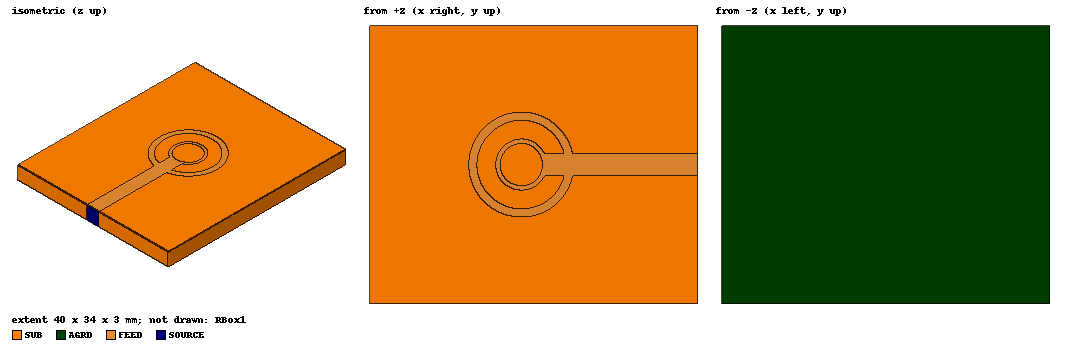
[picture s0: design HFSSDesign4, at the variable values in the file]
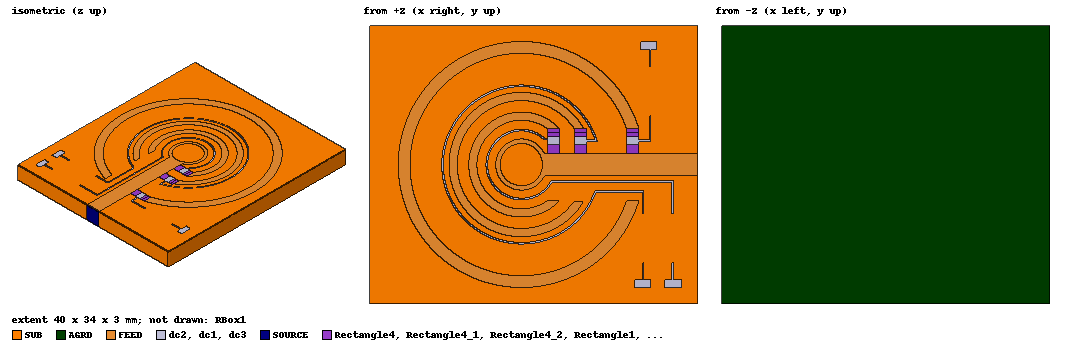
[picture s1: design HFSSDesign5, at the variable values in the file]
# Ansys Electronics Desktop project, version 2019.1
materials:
  Rogers RT/duroid 5880 (tm): permittivity=2.2 dielectric_loss_tangent=0.0009
  vacuum: permittivity=1

design HFSSDesign4 (HFSS, DrivenModal, model units mm)
options: Calculate_Lossy_Dielectrics
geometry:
  AGRD = rectangle(corner=(23mm, -17mm, 0mm), x_size=-40mm, y_size=34mm)
  SUB [Rogers RT/duroid 5880 (tm)] = box(corner=(-17mm, -17mm, 0mm), size=(40mm, 34mm, 3mm))
  SOURCE = rectangle(corner=(23mm, -1.35mm, 0mm), y_size=2.7mm, z_size=3mm)
  RBox1 [vacuum] = box(corner=(-35mm, -35mm, -20mm), size=(70mm, 70mm, 40mm))
  FEED = rectangle(corner=(23mm, -1.35mm, 3mm), x_size=-19mm, y_size=2.7mm)
  Circle1 = circle(normal=Z, centre=(1.5mm, 0mm, 3mm), radius=3.12mm)
  FEED.unite(Circle1)
  Circle2 = circle(normal=Z, centre=(1.5mm, 0mm, 3mm), radius=2.577mm)
  FEED.subtract(Circle2)
  Circle3 = circle(normal=Z, centre=(1.5mm, 0mm, 3mm), radius=5.4mm)
  Circle4 = circle(normal=Z, centre=(1.5mm, 0mm, 3mm), radius=6.4mm)
  Circle4.subtract(Circle3)
  FEED.unite(Circle4)
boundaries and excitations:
  PerfE1: Perfect E Objects=AGRD
  Rad1: Radiation Objects=RBox1
  PerfE2: Perfect E Objects=FEED
  1: Lumped Port Objects=SOURCE Modes{Mode1{IntLine{middle of SOURCE.edge(z at corner) -> middle of SOURCE.edge(z opposite corner)} CharImp=Zpi RenormImp=75ohm}} Impedance=75ohm
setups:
  Setup1: HfssDriven Frequency=15GHz MaxDeltaS=0.02 MaximumPasses=10 MinimumPasses=1 MinimumConvergedPasses=1 PercentRefinement=30 BasisOrder=1 PortAccuracy=2
    sweep Sweep: 1GHz to 25GHz, 451 points; Type=Fast SaveFields
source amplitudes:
  1:1: 1W 0deg
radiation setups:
  Infinite Sphere1: Infinite Sphere Theta=-180deg..180deg step 5deg Phi=-180deg..180deg step 5deg
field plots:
  Mag_E1: E Field over FEED.face(at (13.5, 0, 3)) on Setup1 : LastAdaptive at Freq=15GHz Phase=0deg

design HFSSDesign5 (HFSS, DrivenModal, model units mm)
options: Calculate_Lossy_Dielectrics
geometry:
  AGRD = rectangle(corner=(23mm, -17mm, 0mm), x_size=-40mm, y_size=34mm)
  SUB [Rogers RT/duroid 5880 (tm)] = box(corner=(-17mm, -17mm, 0mm), size=(40mm, 34mm, 3mm))
  SOURCE = rectangle(corner=(23mm, -1.35mm, 0mm), y_size=2.7mm, z_size=3mm)
  RBox1 [vacuum] = box(corner=(-35mm, -35mm, -20mm), size=(70mm, 70mm, 40mm))
  FEED = rectangle(corner=(23mm, -1.35mm, 3mm), x_size=-19mm, y_size=2.7mm)
  Circle1 = circle(normal=Z, centre=(1.5mm, 0mm, 3mm), radius=3.12mm)
  FEED.unite(Circle1)
  Circle2 = circle(normal=Z, centre=(1.5mm, 0mm, 3mm), radius=2.577mm)
  FEED.subtract(Circle2)
  Circle3 = circle(normal=Z, centre=(1.5mm, 0mm, 3mm), radius=5.4mm)
  Circle4 = circle(normal=Z, centre=(1.5mm, 0mm, 3mm), radius=6.4mm)
  Circle4.subtract(Circle3)
  FEED.unite(Circle4)
  sub_1 = rectangle(corner=(4.5mm, 1.35mm, 3mm), x_size=3.48719mm, y_size=3mm)
  sub_2 = rectangle(corner=(4.5mm, -1.35mm, 3mm), x_size=3.48719mm, y_size=-3mm)
  FEED.subtract(sub_1, sub_2)
  Rectangle1 = rectangle(corner=(4.6996094mm, 4.35mm, 3mm), x_size=1.5003906mm, y_size=-0.5mm)
  Rectangle2 = rectangle(corner=(4.6996094mm, 3.85mm, 3mm), x_size=1.5003906mm, y_size=-0.45mm)
  Rectangle3 = rectangle(corner=(4.6996094mm, 3.4mm, 3mm), x_size=1.5003906mm, y_size=-1mm)
  Rectangle4 = rectangle(corner=(4.6996094mm, 2.4mm, 3mm), x_size=1.5003906mm, y_size=-1.05mm)
  Circle5 = circle(normal=Z, centre=(1.5mm, 0mm, 3mm), radius=4.1mm)
  dc1 = circle(normal=Z, centre=(1.5mm, 0mm, 3mm), radius=4.3mm)
  dc1.subtract(Circle5)
  Rectangle5 = rectangle(corner=(4.2mm, 3mm, 3mm), x_size=2.5mm, y_size=-5mm)
  dc1.subtract(Rectangle5)
  Rectangle6 = rectangle(corner=(4.3mm, 3.2mm, 3mm), x_size=1.1053623mm, y_size=-0.2mm)
  Rectangle7 = rectangle(corner=(5.079106mm, -2mm, 3mm), x_size=15mm, y_size=-0.2mm)
  dc1.unite(Rectangle6, Rectangle7)
  dc1.unite(Rectangle3)
  Circle6 = circle(normal=Z, centre=(1.5mm, 0mm, 3mm), radius=8.8mm)
  Circle7 = circle(normal=Z, centre=(1.5mm, 0mm, 3mm), radius=7.8mm)
  Circle6.subtract(Circle7)
  Rectangle8 = rectangle(corner=(7.5mm, 4.35mm, 3mm), x_size=3mm, y_size=-3mm)
  Rectangle9 = rectangle(corner=(7.5mm, -4.5mm, 3mm), x_size=3mm, y_size=3.15mm)
  FEED.unite(Circle6)
  FEED.subtract(Rectangle8, Rectangle9)
  Rectangle1_1 = Rectangle1.duplicate_along_line(step=(3.2747632mm, 0mm, 0mm), total=2)
  Rectangle2_1 = Rectangle2.duplicate_along_line(step=(3.2747632mm, 0mm, 0mm), total=2)
  Rectangle4_1 = Rectangle4.duplicate_along_line(step=(3.2747632mm, 0mm, 0mm), total=2)
  Rectangle10 = rectangle(corner=(9.4747632mm, 2.4mm, 3mm), x_size=-1.5003906mm, y_size=1mm)
  Rectangle11 = rectangle(corner=(9mm, 2.8mm, 3mm), x_size=1.7mm, y_size=0.2mm)
  Circle8 = circle(normal=Z, centre=(1.5mm, 0mm, 3mm), radius=9.5mm)
  dc2 = circle(normal=Z, centre=(1.5mm, 0mm, 3mm), radius=9.7mm)
  dc2.subtract(Circle8)
  Rectangle12 = rectangle(corner=(10.125mm, 2.8mm, 3mm), x_size=3mm, y_size=-6mm)
  dc2.subtract(Rectangle12)
  dc2.unite(Rectangle11, Rectangle10)
  Rectangle13 = rectangle(corner=(10.444831mm, -3.2mm, 3mm), x_size=6mm, y_size=-0.2mm)
  dc2.unite(Rectangle13)
  Circle10 = circle(normal=Z, centre=(1.5mm, 0mm, 3mm), radius=15mm)
  Circle11 = circle(normal=Z, centre=(1.5mm, 0mm, 3mm), radius=13.56mm)
  Circle10.subtract(Circle11)
  Rectangle14 = rectangle(corner=(13mm, 1.35mm, 3mm), x_size=4mm, y_size=3mm)
  Rectangle15 = rectangle(corner=(13mm, -1.35mm, 3mm), x_size=4mm, y_size=-3mm)
  FEED.unite(Circle10)
  FEED.subtract(Rectangle14, Rectangle15)
  Rectangle1_2 = Rectangle1.duplicate_along_line(step=(8.1553997mm, 0mm, 0mm), total=2)
  Rectangle2_2 = Rectangle2.duplicate_along_line(step=(8.1553997mm, 0mm, 0mm), total=2)
  Rectangle4_2 = Rectangle4.duplicate_along_line(step=(8.1553997mm, 0mm, 0mm), total=2)
  dc3 = rectangle(corner=(12.855009mm, 2.4mm, 3mm), x_size=1.5003906mm, y_size=1mm)
  Rectangle17 = rectangle(corner=(13.8mm, 2.8mm, 3mm), x_size=2mm, y_size=0.2mm)
  Rectangle18 = rectangle(corner=(15.8mm, 2.8mm, 3mm), x_size=-0.2mm, y_size=12mm)
  dc3.unite(Rectangle17, Rectangle18)
  Rectangle19 = rectangle(corner=(14.5mm, 14mm, 3mm), x_size=2mm, y_size=1mm)
  Rectangle20 = rectangle(corner=(14.5mm, 6mm, 3mm), x_size=2mm, y_size=6mm)
  dc3.unite(Rectangle19)
  Rectangle21 = rectangle(corner=(14.5mm, 6mm, 3mm), x_size=2mm, y_size=6mm)
  Rectangle22 = rectangle(corner=(14.5mm, 6mm, 3mm), x_size=2mm, y_size=6mm)
  dc3.subtract(Rectangle20)
  Rectangle23 = rectangle(corner=(16.444831mm, -3.4mm, 3mm), x_size=-0.2mm, y_size=-10.6mm)
  Rectangle24 = rectangle(corner=(15.3mm, -14mm, 3mm), x_size=2mm, y_size=-1mm)
  Rectangle21.move(0.5mm, -18mm, 0mm)
  dc2.unite(Rectangle23, Rectangle24)
  dc2.subtract(Rectangle21)
  Rectangle25 = rectangle(corner=(20.079106mm, -2.2mm, 3mm), x_size=-0.2mm, y_size=-11.8mm)
  Rectangle26 = rectangle(corner=(19mm, -14mm, 3mm), x_size=2mm, y_size=-1mm)
  dc1.unite(Rectangle25, Rectangle26)
  Rectangle22.move(4.5mm, -18mm, 0mm)
  dc1.subtract(Rectangle22)
  [Rectangle4_2, Rectangle2_2, Rectangle1_2, dc3].move(1.5mm, 0mm, 0mm)
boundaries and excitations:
  PerfE1: Perfect E Objects=AGRD
  Rad1: Radiation Objects=RBox1
  PerfE2: Perfect E Objects=FEED
  C1: Lumped RLC Objects=Rectangle4 CurrentLine{Rectangle4.edge(y opposite corner) at 0.533 along -> Rectangle4.edge(y at corner) at 0.467 along} Capacitance=1pF
  l1: Lumped RLC Objects=Rectangle2 CurrentLine{middle of Rectangle2.edge(y opposite corner) -> middle of Rectangle2.edge(y at corner)} Inductance=0.7nH
  RC1: Lumped RLC Objects=Rectangle1 CurrentLine{middle of Rectangle1.edge(y opposite corner) -> middle of Rectangle1.edge(y at corner)} Resistance=2kOhm Capacitance=0.3pF
  rc2: Lumped RLC Objects=Rectangle1_1 CurrentLine{middle of Rectangle1_1.edge(3 of 4) -> middle of Rectangle1_1.edge(1 of 4)} Resistance=2kOhm Capacitance=0.3pF
  l2: Lumped RLC Objects=Rectangle2_1 CurrentLine{middle of Rectangle2_1.edge(3 of 4) -> middle of Rectangle2_1.edge(1 of 4)} Inductance=0.7nH
  C4: Lumped RLC Objects=Rectangle4_1 CurrentLine{middle of Rectangle4_1.edge(3 of 4) -> middle of Rectangle4_1.edge(1 of 4)} Capacitance=1pF
  rc3: Lumped RLC Objects=Rectangle1_2 CurrentLine{middle of Rectangle1_2.edge(3 of 4) -> middle of Rectangle1_2.edge(1 of 4)} Resistance=2kOhm Capacitance=0.3pF
  l3: Lumped RLC Objects=Rectangle2_2 CurrentLine{middle of Rectangle2_2.edge(3 of 4) -> middle of Rectangle2_2.edge(1 of 4)} Inductance=0.7nH
  C3: Lumped RLC Objects=Rectangle4_2 CurrentLine{middle of Rectangle4_2.edge(3 of 4) -> middle of Rectangle4_2.edge(1 of 4)} Capacitance=1pF
  1: Lumped Port Objects=SOURCE Modes{Mode1{IntLine{middle of SOURCE.edge(z at corner) -> middle of SOURCE.edge(z opposite corner)} CharImp=Zpi RenormImp=75ohm}} Impedance=75ohm
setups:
  Setup1: HfssDriven Frequency=15GHz MaxDeltaS=0.02 MaximumPasses=10 MinimumPasses=1 MinimumConvergedPasses=1 PercentRefinement=30 BasisOrder=1 PortAccuracy=2
    sweep Sweep: 1GHz to 25GHz, 451 points; Type=Fast SaveFields
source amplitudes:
  1:1: 1W 0deg
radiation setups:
  Infinite Sphere1: Infinite Sphere Theta=0deg..360deg step 5deg Phi=-180deg..180deg step 5deg
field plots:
  Mag_Jsurf1: Jsurf over FEED.face(all 4) on Setup1 : LastAdaptive at Freq=15GHz Phase=0deg
